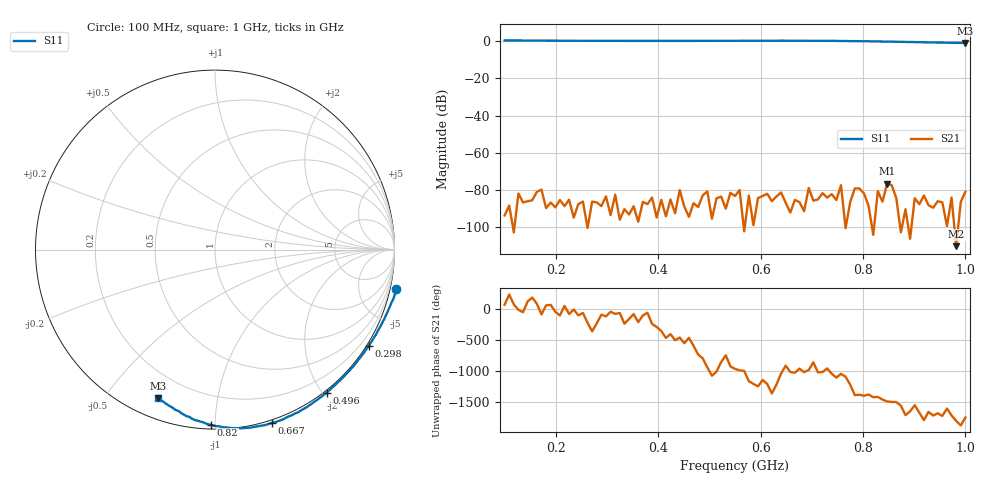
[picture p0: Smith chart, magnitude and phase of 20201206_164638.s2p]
# HZ S RI R 50
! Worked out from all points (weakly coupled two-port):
!   101 points, 100 MHz to 1 GHz, reference 50 ohm
!   highest |S21| = -76.66 dB at 847 MHz (marker M1); lowest = -110.1 dB at 982 MHz (marker M2)
!   lowest |S11| = -1.1 dB at 1 GHz (marker M3), VSWR 16.54, Z = 4.44 - j34.1 ohm
!   |S11| at or under -10 dB: nowhere
!   S12 and S22 are empty: the file has one direction only
!   S11 on the Smith chart (normalised r, x): 100 MHz: -1.33, -9.11; 298 MHz: -0.07, -3.48; 496 MHz: -0.03, -2.05; 667 MHz: -0.02, -1.38; 820 MHz: 0.02, -0.98; 1 GHz: 0.09, -0.68
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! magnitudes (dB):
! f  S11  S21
! 100 MHz  0.3  -93.6
! 253 MHz  0.1  -86.2
! 298 MHz  0.1  -83.4
! 406 MHz  0.1  -85.2
! 496 MHz  0.1  -80.8
! 550 MHz  0.1  -83.2
! 667 MHz  0.1  -85.3
! 685 MHz  0.1  -91.3
! 694 MHz  0.1  -78.8
! 703 MHz  0.1  -85.7
! 748 MHz  0.0  -85.4
! 757 MHz  0.0  -77.4
! 766 MHz  0.0  -100.5
! 775 MHz  0.0  -86.5
! 784 MHz  -0.1  -79.1
! 820 MHz  -0.2  -104.1
! 838 MHz  -0.3  -86.2
! 847 MHz  -0.3  -76.7
! 856 MHz  -0.4  -77.4
! 865 MHz  -0.4  -84.3
! 982 MHz  -1.0  -110.1
! 1 GHz  -1.1  -80.9
